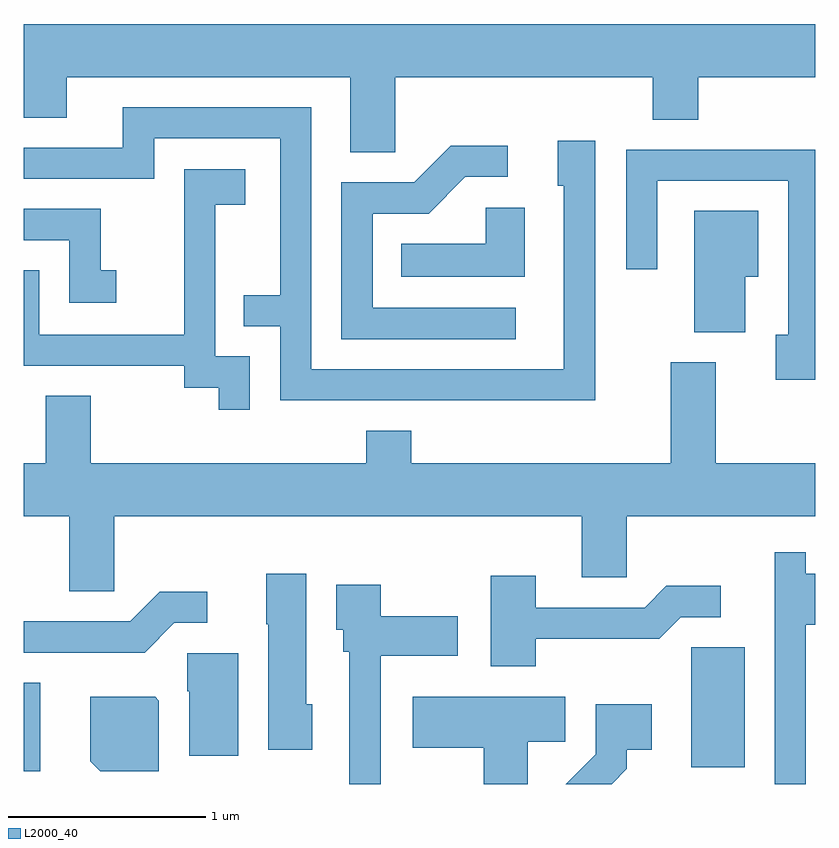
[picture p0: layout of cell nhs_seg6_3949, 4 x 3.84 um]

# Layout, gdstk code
import gdstk
lib = gdstk.Library(unit=1e-6, precision=1e-09)
def R(c, l, rs):  # rectangles x0, y0, x1, y1
    for r in rs: c.add(gdstk.rectangle(r[:2], r[2:], *l))
def P(c, l, *ps):  # polygons
    for p in ps: c.add(gdstk.Polygon(p, *l))
L2000_40 = (2000, 40)

nhs_seg6_3949 = lib.new_cell('nhs_seg6_3949')
R(nhs_seg6_3949, L2000_40, [(303.611,1624.226,303.694,1624.674), (306.986,1624.246,307.254,1624.854)])
P(nhs_seg6_3949, L2000_40, [(305.489,1627.736),(306.791,1627.736),(306.791,1627.521),(307.019,1627.521),(307.019,1627.736),(307.611,1627.736),(307.611,1628.004),(303.611,1628.004),(303.611,1627.531),(303.829,1627.531),(303.829,1627.736),(305.261,1627.736),(305.261,1627.356),(305.489,1627.356)],
  [(306.499,1627.414),(306.311,1627.414),(306.311,1627.186),(306.341,1627.186),(306.341,1626.259),(305.064,1626.259),(305.064,1627.584),(304.111,1627.584),(304.111,1627.379),(303.611,1627.379),(303.611,1627.221),(304.269,1627.221),(304.269,1627.426),(304.906,1627.426),(304.906,1626.634),(304.723,1626.634),(304.723,1626.476),(304.906,1626.476),(304.906,1626.101),(306.499,1626.101)],
  [(306.098,1626.569),(305.374,1626.569),(305.374,1627.046),(305.657,1627.046),(305.842,1627.231),(306.058,1627.231),(306.058,1627.389),(305.769,1627.389),(305.584,1627.204),(305.216,1627.204),(305.216,1626.411),(306.098,1626.411)],
  [(307.611,1627.369),(306.656,1627.369),(306.656,1626.763),(306.814,1626.763),(306.814,1627.211),(307.476,1627.211),(307.476,1626.434),(307.411,1626.434),(307.411,1626.206),(307.611,1626.206)],
  [(304.754,1626.324),(304.579,1626.324),(304.579,1627.091),(304.729,1627.091),(304.729,1627.269),(304.421,1627.269),(304.421,1626.434),(303.689,1626.434),(303.689,1626.759),(303.611,1626.759),(303.611,1626.276),(304.421,1626.276),(304.421,1626.166),(304.596,1626.166),(304.596,1626.053),(304.754,1626.053)],
  [(306.144,1627.074),(305.946,1627.074),(305.946,1626.894),(305.518,1626.894),(305.518,1626.726),(306.144,1626.726)],
  [(304.078,1626.759),(303.999,1626.759),(303.999,1627.069),(303.611,1627.069),(303.611,1626.911),(303.841,1626.911),(303.841,1626.596),(304.078,1626.596)],
  [(307.259,1626.726),(307.324,1626.726),(307.324,1627.059),(307.001,1627.059),(307.001,1626.446),(307.259,1626.446)],
  [(304.069,1625.516),(306.431,1625.516),(306.431,1625.206),(306.659,1625.206),(306.659,1625.516),(307.611,1625.516),(307.611,1625.784),(307.109,1625.784),(307.109,1626.294),(306.881,1626.294),(306.881,1625.784),(305.569,1625.784),(305.569,1625.949),(305.341,1625.949),(305.341,1625.784),(303.949,1625.784),(303.949,1626.124),(303.721,1626.124),(303.721,1625.784),(303.611,1625.784),(303.611,1625.516),(303.841,1625.516),(303.841,1625.136),(304.069,1625.136)],
  [(307.564,1624.966),(307.611,1624.966),(307.611,1625.224),(307.564,1625.224),(307.564,1625.333),(307.406,1625.333),(307.406,1624.162),(307.564,1624.162)],
  [(305.069,1624.564),(305.039,1624.564),(305.039,1625.224),(304.836,1625.224),(304.836,1624.97),(304.846,1624.97),(304.846,1624.336),(305.069,1624.336)],
  [(306.199,1624.896),(306.822,1624.896),(306.932,1625.006),(307.133,1625.006),(307.133,1625.164),(306.859,1625.164),(306.749,1625.054),(306.199,1625.054),(306.199,1625.214),(305.971,1625.214),(305.971,1624.756),(306.199,1624.756)],
  [(305.414,1624.811),(305.804,1624.811),(305.804,1625.009),(305.414,1625.009),(305.414,1625.169),(305.191,1625.169),(305.191,1624.941),(305.226,1624.941),(305.226,1624.831),(305.256,1624.831),(305.256,1624.162),(305.414,1624.162)],
  [(304.372,1624.976),(304.538,1624.976),(304.538,1625.134),(304.299,1625.134),(304.149,1624.984),(303.611,1624.984),(303.611,1624.826),(304.222,1624.826)],
  [(304.694,1624.824),(304.436,1624.824),(304.436,1624.63),(304.446,1624.63),(304.446,1624.306),(304.694,1624.306)],
  [(304.294,1624.584),(304.274,1624.604),(303.946,1624.604),(303.946,1624.277),(303.997,1624.226),(304.294,1624.226)],
  [(306.159,1624.376),(306.349,1624.376),(306.349,1624.604),(305.576,1624.604),(305.576,1624.346),(305.936,1624.346),(305.936,1624.162),(306.159,1624.162)],
  [(306.659,1624.239),(306.659,1624.336),(306.784,1624.336),(306.784,1624.564),(306.501,1624.564),(306.501,1624.312),(306.351,1624.162),(306.582,1624.162)])

lib.write_gds('nhs_seg6_3949.gds')
